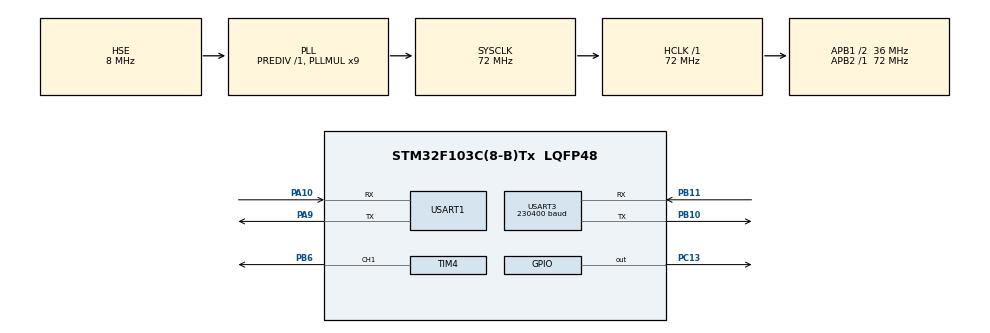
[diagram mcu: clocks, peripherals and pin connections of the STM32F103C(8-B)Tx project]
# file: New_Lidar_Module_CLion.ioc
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Dma.Request0=USART1_RX
Dma.Request1=USART3_RX
Dma.Request2=TIM4_CH1
Dma.TIM4_CH1.2.Direction=DMA_MEMORY_TO_PERIPH
Dma.TIM4_CH1.2.Instance=DMA1_Channel1
Dma.TIM4_CH1.2.MemDataAlignment=DMA_MDATAALIGN_HALFWORD
Dma.TIM4_CH1.2.MemInc=DMA_MINC_ENABLE
Dma.TIM4_CH1.2.Mode=DMA_NORMAL
Dma.TIM4_CH1.2.PeriphDataAlignment=DMA_PDATAALIGN_HALFWORD
Dma.TIM4_CH1.2.PeriphInc=DMA_PINC_DISABLE
Dma.TIM4_CH1.2.Priority=DMA_PRIORITY_LOW
Dma.USART1_RX.0.Direction=DMA_PERIPH_TO_MEMORY
Dma.USART1_RX.0.Instance=DMA1_Channel5
Dma.USART1_RX.0.MemDataAlignment=DMA_MDATAALIGN_BYTE
Dma.USART1_RX.0.MemInc=DMA_MINC_ENABLE
Dma.USART1_RX.0.Mode=DMA_NORMAL
Dma.USART1_RX.0.PeriphDataAlignment=DMA_PDATAALIGN_BYTE
Dma.USART1_RX.0.PeriphInc=DMA_PINC_DISABLE
Dma.USART1_RX.0.Priority=DMA_PRIORITY_LOW
Dma.USART3_RX.1.Direction=DMA_PERIPH_TO_MEMORY
Dma.USART3_RX.1.Instance=DMA1_Channel3
Dma.USART3_RX.1.MemDataAlignment=DMA_MDATAALIGN_BYTE
Dma.USART3_RX.1.MemInc=DMA_MINC_ENABLE
Dma.USART3_RX.1.Mode=DMA_CIRCULAR
Dma.USART3_RX.1.PeriphDataAlignment=DMA_PDATAALIGN_BYTE
Dma.USART3_RX.1.PeriphInc=DMA_PINC_DISABLE
Dma.USART3_RX.1.Priority=DMA_PRIORITY_LOW
Mcu.Family=STM32F1
Mcu.Name=STM32F103C(8-B)Tx
Mcu.Package=LQFP48
NVIC.DMA1_Channel1_IRQn=true\:0\:0\:false\:false\:true\:false\:true\:true
NVIC.DMA1_Channel3_IRQn=true\:0\:0\:false\:false\:true\:false\:true\:true
NVIC.DMA1_Channel5_IRQn=true\:0\:0\:false\:false\:true\:false\:true\:true
NVIC.PriorityGroup=NVIC_PRIORITYGROUP_4
NVIC.USART1_IRQn=true\:0\:0\:false\:false\:true\:true\:true\:true
NVIC.USART3_IRQn=true\:0\:0\:false\:false\:true\:true\:true\:true
PA10.Mode=Asynchronous
PA10.Signal=USART1_RX
PA13.Mode=Serial_Wire
PA13.Signal=SYS_JTMS-SWDIO
PA14.Mode=Serial_Wire
PA14.Signal=SYS_JTCK-SWCLK
PA9.Mode=Asynchronous
PA9.Signal=USART1_TX
PB10.Mode=Asynchronous
PB10.Signal=USART3_TX
PB11.Mode=Asynchronous
PB11.Signal=USART3_RX
PB6.Signal=S_TIM4_CH1
PC13-TAMPER-RTC.GPIO_ModeDefaultOutputPP=GPIO_MODE_OUTPUT_OD
PC13-TAMPER-RTC.GPIO_PuPd=GPIO_NOPULL
PC13-TAMPER-RTC.PinState=GPIO_PIN_SET
PC13-TAMPER-RTC.Signal=GPIO_Output
PD0-OSC_IN.Mode=HSE-External-Oscillator
PD0-OSC_IN.Signal=RCC_OSC_IN
PD1-OSC_OUT.Mode=HSE-External-Oscillator
PD1-OSC_OUT.Signal=RCC_OSC_OUT
ProjectManager.HeapSize=0x200
ProjectManager.StackSize=0x400
ProjectManager.TargetToolchain=CMake
RCC.AHBFreq_Value=72000000
RCC.APB1CLKDivider=RCC_HCLK_DIV2
RCC.APB1Freq_Value=36000000
RCC.APB1TimFreq_Value=72000000
RCC.APB2Freq_Value=72000000
RCC.APB2TimFreq_Value=72000000
RCC.HCLKFreq_Value=72000000
RCC.PLLMUL=RCC_PLL_MUL9
RCC.PLLSourceVirtual=RCC_PLLSOURCE_HSE
RCC.SYSCLKFreq_VALUE=72000000
RCC.SYSCLKSource=RCC_SYSCLKSOURCE_PLLCLK
RCC.USBFreq_Value=72000000
SH.S_TIM4_CH1.0=TIM4_CH1,PWM Generation1 CH1
TIM4.Channel-PWM\ Generation1\ CH1=TIM_CHANNEL_1
TIM4.Period=90-1
USART1.VirtualMode=VM_ASYNC
USART3.BaudRate=230400
USART3.VirtualMode=VM_ASYNC
VP_TIM4_VS_ClockSourceINT.Mode=Internal
board=custom

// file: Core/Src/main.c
/* USER CODE BEGIN Header */
/**
  ******************************************************************************
  * @file           : main.c
  * @brief          : Main program body
  ******************************************************************************
  * @attention
  *
  * Copyright (c) 2026 STMicroelectronics.
  * All rights reserved.
  *
  * This software is licensed under terms that can be found in the LICENSE file
  * in the root directory of this software component.
  * If no LICENSE file comes with this software, it is provided AS-IS.
  *
  ******************************************************************************
  */
/* USER CODE END Header */
#include "main.h"
#include "dma.h"
#include "tim.h"
#include "usart.h"
#include "gpio.h"

/* USER CODE BEGIN Includes */
#include "led_control.h"
#include <stdio.h>
#include <string.h>
#include "lidar.h"
#include "ws2812.h"
/* USER CODE END Includes */

/* USER CODE BEGIN PD */
#define USART1_BUFFER_SIZE 256  // USART1接收缓冲区大小
#define USART3_BUFFER_SIZE 512  // USART3接收缓冲区大小
#define UART_TRANSMIT_TIMEOUT 500  // UART发送超时时间(ms)，避免长时间阻塞
/* USER CODE END PD */

/* USER CODE BEGIN PV */
uint8_t usart1_rx_data;
uint16_t rx_index = 0;
uint8_t rx_buffer[256];
uint8_t uart1_rx_buffer[256];
uint8_t uart3_rx_buffer[512];

// 声明DMA句柄
extern DMA_HandleTypeDef hdma_usart1_rx;
extern DMA_HandleTypeDef hdma_usart3_rx;
/* USER CODE END PV */

void SystemClock_Config(void);
/* USER CODE BEGIN PFP */
void lidar_export_csv(void);
/* USER CODE END PFP */

int main(void)
{

  /* MCU Configuration--------------------------------------------------------*/

  /* Reset of all peripherals, Initializes the Flash interface and the Systick. */
  HAL_Init();

  /* USER CODE BEGIN Init */
  // if (lidar_uart3_init(230400) != HAL_OK) {
  //   Error_Handler();
  // }
  /* USER CODE END Init */

  /* Configure the system clock */
  SystemClock_Config();

  /* Initialize all configured peripherals */
  MX_GPIO_Init();
  MX_DMA_Init();
  MX_USART1_UART_Init();
  MX_USART3_UART_Init();
  MX_TIM4_Init();
  /* USER CODE BEGIN 2 */
  // 开启接收中断
  uint8_t rx_byte;
  //HAL_UART_Receive_IT(&huart1, &rx_byte, 1);
  __HAL_UART_CLEAR_FLAG(&huart3, UART_FLAG_RXNE | UART_FLAG_TC | UART_FLAG_ORE);
  memset(uart3_rx_buffer, 0, USART3_BUFFER_SIZE);
  /* 这一行函数会同时开启 DMA 搬运和空闲中断检测 */
  HAL_UARTEx_ReceiveToIdle_DMA(&huart3, uart3_rx_buffer, USART3_BUFFER_SIZE);
  // 禁用DMA半传输中断（仅需要空闲中断，减少不必要的中断触发）
  __HAL_DMA_DISABLE_IT(&hdma_usart3_rx, DMA_IT_HT);

  // 初始化雷达
  LIDAR_Init();

  // 启动USART3接收中断
  //uint8_t rx_byte;
  //HAL_UART_Receive_IT(&huart3, &rx_byte, 1);
  printf("===LiDAR System Ready===\r\n");
  HAL_UARTEx_ReceiveToIdle_DMA(&huart1, uart1_rx_buffer, USART1_BUFFER_SIZE);
  __HAL_DMA_DISABLE_IT(&hdma_usart1_rx, DMA_IT_HT);
  LED_Control_Init();
  /* USER CODE END 2 */

  /* Infinite loop */
  /* USER CODE BEGIN WHILE */
  while (1)
  {
    static uint8_t printed_0deg = 0;
    static uint8_t printed_90deg = 0;
    static uint8_t printed_180deg = 0;
    static uint8_t printed_270deg = 0;

    if (lidar_data_ready()) {
    // 重置打印标记
      printed_0deg = 0;
      printed_90deg = 0;
      printed_180deg = 0;
      printed_270deg = 0;
      lidar_export_csv();
      printf("=========================================\r\n");
      printf("LD14P Valid Data (ASCII Format)\r\n");
      printf("=========================================\r\n");

      for(int i = 0; i < 720; i++)
      {
        // 双重筛选：距离>0（有效） + 置信度≥20（可靠）
        //if(Dataprocess[i].distance > 0 && Dataprocess[i].confidence >= 20)
        if(Dataprocess[i].distance > 100 &&
            Dataprocess[i].distance < 8000 &&
            Dataprocess[i].confidence >= 50)
        {
          // 0°角度：只打印一次
          if(float_abs(Dataprocess[i].angle-0)<2.0 && printed_0deg == 0)
          {
            printf("0 deg: Distance=%d mm, Confidence=%d\r\n",
               Dataprocess[i].distance,
               Dataprocess[i].confidence);
            printed_0deg = 1;
            LED_Control_Update(printed_0deg,Dataprocess[i].distance);
          }
            // 90°角度：只打印一次
          else if(float_abs(Dataprocess[i].angle-90)<2.0 && printed_90deg == 0)
          {
            printf("90 deg: Distance=%d mm, Confidence=%d\r\n",
               Dataprocess[i].distance,
               Dataprocess[i].confidence);
            printed_90deg = 1;
            LED_Control_Update(printed_90deg,Dataprocess[i].distance);
          }
            // 180°角度：只打印一次
          else if(float_abs(Dataprocess[i].angle-180)<2.0 && printed_180deg == 0)
          {
            printf("180 deg: Distance=%d mm, Confidence=%d\r\n",
               Dataprocess[i].distance,
               Dataprocess[i].confidence);
            printed_180deg = 1;
            LED_Control_Update(printed_180deg,Dataprocess[i].distance);
          }
          // 270°角度：只打印一次
          else if(float_abs(Dataprocess[i].angle-270)<2.0 && printed_270deg == 0)
          {
            printf("270 deg: Distance=%d mm, Confidence=%d\r\n",
               Dataprocess[i].distance,
               Dataprocess[i].confidence);
            printed_270deg = 1;
            LED_Control_Update(printed_270deg,Dataprocess[i].distance);
          }
        }
      }
      LED_Control_Run();
              // 打印无有效数据的角度
      printf("-----------------------------------------\r\n");
      if(printed_0deg == 0) printf("0 deg: No valid data (Distance=0 or low confidence)\r\n");
      if(printed_90deg == 0) printf("90 deg: No valid data (Distance=0 or low confidence)\r\n");
      if(printed_180deg == 0) printf("180 deg: No valid data (Distance=0 or low confidence)\r\n");
      if(printed_270deg == 0) printf("270 deg: No valid data (Distance=0 or low confidence)\r\n");
      printf("=========================================\r\n\r\n");

      lidar_reset_data_flag();
    }

    // ws2812_SetAll(128, 128, 128);
    // ws2812_Show();
    HAL_Delay(100); // 加延时，避免空转
    HAL_GPIO_TogglePin(GPIOC, GPIO_PIN_13); // LED心跳
    /* USER CODE END WHILE */

  }
}

void SystemClock_Config(void)
{
  RCC_OscInitTypeDef RCC_OscInitStruct = {0};
  RCC_ClkInitTypeDef RCC_ClkInitStruct = {0};

  /** Initializes the RCC Oscillators according to the specified parameters
  * in the RCC_OscInitTypeDef structure.
  */
  RCC_OscInitStruct.OscillatorType = RCC_OSCILLATORTYPE_HSE;
  RCC_OscInitStruct.HSEState = RCC_HSE_ON;
  RCC_OscInitStruct.HSEPredivValue = RCC_HSE_PREDIV_DIV1;
  RCC_OscInitStruct.HSIState = RCC_HSI_ON;
  RCC_OscInitStruct.PLL.PLLState = RCC_PLL_ON;
  RCC_OscInitStruct.PLL.PLLSource = RCC_PLLSOURCE_HSE;
  RCC_OscInitStruct.PLL.PLLMUL = RCC_PLL_MUL9;
  if (HAL_RCC_OscConfig(&RCC_OscInitStruct) != HAL_OK)
  {
    Error_Handler();
  }

  /** Initializes the CPU, AHB and APB buses clocks
  */
  RCC_ClkInitStruct.ClockType = RCC_CLOCKTYPE_HCLK|RCC_CLOCKTYPE_SYSCLK
                              |RCC_CLOCKTYPE_PCLK1|RCC_CLOCKTYPE_PCLK2;
  RCC_ClkInitStruct.SYSCLKSource = RCC_SYSCLKSOURCE_PLLCLK;
  RCC_ClkInitStruct.AHBCLKDivider = RCC_SYSCLK_DIV1;
  RCC_ClkInitStruct.APB1CLKDivider = RCC_HCLK_DIV2;
  RCC_ClkInitStruct.APB2CLKDivider = RCC_HCLK_DIV1;

  if (HAL_RCC_ClockConfig(&RCC_ClkInitStruct, FLASH_LATENCY_2) != HAL_OK)
  {
    Error_Handler();
  }
}

/* USER CODE BEGIN 4 */
void lidar_export_csv(void)
{
  // 1. 打印CSV文件头（Excel识别列名）
  //printf("===== CSV_EXPORT_BEGIN =====\r\n");
  printf("angle,distance,confidence\r\n");

  // 2. 遍历一圈720个点，只导出有效数据
  for (int i = 0; i < 720; i++)
  {
    // 沿用你原有的筛选条件：距离>0 + 置信度≥20
    if(Dataprocess[i].distance > 0 && Dataprocess[i].confidence >= 20)
    {
      // 格式化输出：角度(保留1位小数),距离,置信度
      printf("%.1f,%d,%d\r\n",
             Dataprocess[i].angle,
             Dataprocess[i].distance,
             Dataprocess[i].confidence);
    }
  }

  // 3. 打印结束标记（方便识别单圈数据结束）
  printf("===== CSV_EXPORT_END =====\r\n");
}

void HAL_UARTEx_RxEventCallback(UART_HandleTypeDef *huart, uint16_t Size)
{
  //USART1 回显
  if (huart->Instance == USART1)
  {
    if (Size > 0)
    {
      HAL_UART_Transmit(&huart1, uart1_rx_buffer, Size, UART_TRANSMIT_TIMEOUT);
      //重启USART1 DMA+Idle接收（循环接收）
      HAL_UARTEx_ReceiveToIdle_DMA(&huart1, uart1_rx_buffer, USART1_BUFFER_SIZE);
      __HAL_DMA_DISABLE_IT(&hdma_usart1_rx, DMA_IT_HT);
      HAL_GPIO_TogglePin(GPIOC, GPIO_PIN_13);
    }
  }

  // ===== USART3 雷达接收 =====
  if (huart->Instance == USART3 && Size > 0)
  {
    //HAL_UART_Transmit(&huart1, uart3_rx_buffer, Size, 100);
    lidar_parse_data(uart3_rx_buffer, Size);
    // 1. 打印提示
    //printf("\r\n=== LiDAR Data (len: %d) ===\r\n", Size);
    // // 2. 将雷达数据转发到USART1（电脑端查看）
    // HAL_UART_Transmit(&huart1, uart3_rx_buffer, Size, UART_TRANSMIT_TIMEOUT);
    // 3. 重启USART3,接收下一批数据 DMA+Idle接收（循环接收雷达数据）
    HAL_UARTEx_ReceiveToIdle_DMA(&huart3, uart3_rx_buffer, USART3_BUFFER_SIZE);
    __HAL_DMA_DISABLE_IT(&hdma_usart3_rx, DMA_IT_HT);
  }
}

void HAL_UART_ErrorCallback(UART_HandleTypeDef *huart)
{
  static uint32_t last_error_time = 0;

  if (HAL_GetTick() - last_error_time > 1000) {
    // USART1错误处理
    if (huart->Instance == USART1)
    {
      //printf("USART1 Error! Restart receive...\r\n");
      HAL_UARTEx_ReceiveToIdle_DMA(&huart1, uart1_rx_buffer, USART1_BUFFER_SIZE);
      __HAL_DMA_DISABLE_IT(&hdma_usart1_rx, DMA_IT_HT);
    }

    // USART3错误处理（雷达串口）
    if (huart->Instance == USART3)
    {
      //printf("USART3 (LiDAR) Error! Restart receive...\r\n");
      HAL_UARTEx_ReceiveToIdle_DMA(&huart3, uart3_rx_buffer, USART3_BUFFER_SIZE);
      __HAL_DMA_DISABLE_IT(&hdma_usart3_rx, DMA_IT_HT);
    }
  }
}

// printf重定向（如果还没有）
#ifdef __GNUC__
#define PUTCHAR_PROTOTYPE int __io_putchar(int ch)
#else
#define PUTCHAR_PROTOTYPE int fputc(int ch, FILE *f)
#endif

PUTCHAR_PROTOTYPE
{
  HAL_UART_Transmit(&huart1, (uint8_t *)&ch, 1, HAL_MAX_DELAY);
  return ch;
}
/* USER CODE END 4 */

void Error_Handler(void)
{
  /* USER CODE BEGIN Error_Handler_Debug */
  /* User can add his own implementation to report the HAL error return state */
  __disable_irq();
  while (1)
  {
    HAL_GPIO_TogglePin(GPIOC, GPIO_PIN_13);
    HAL_Delay(100);
  }
  /* USER CODE END Error_Handler_Debug */
}
